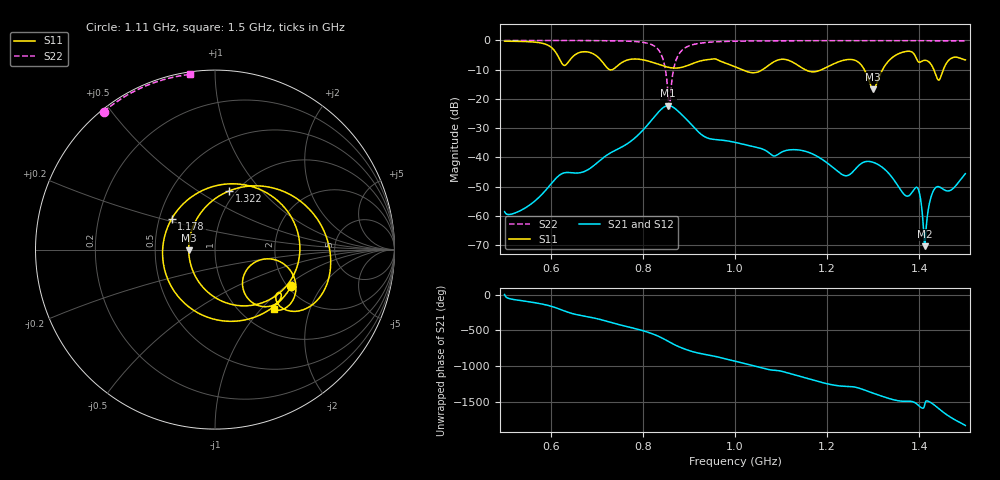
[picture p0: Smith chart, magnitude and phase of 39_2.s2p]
! TOUCHSTONE file generated by CST MICROWAVE STUDIO
! Date and time: Thu Feb 18 07:37:51 2021
! Project name: Scenario_1_Planar_Body_Tissue_Out_of_Line.cst
! Parameters = {L_HA=400; Ltissue=1000; MT=2.54; Rad_Dielectric=30; Rad_Lower=7.3; Rad_Upper=30; Wtissue=1000; a_HA=580; a_WG=246; b_HA=500; b_WG=121; c_HA=0; c_WG=187; d_feed=85; dx1=346; dy1=311.4; h_feed=15; h_lower=18; h_upper=40; hfat=3; hgap=25; hmuscle=50; hskin=1.5}
! Header version: 2018
! Port assignment regex: !\s*Touchstone port\s*([0-9]+)\s*=\s*(CST MWS port|CST DS port)\s*([0-9]+|Zmin|Zmax)\s*\(\"(.*)\"\)(\s*mode\s*([0-9]+))?.*
! Touchstone port assignment:
! Touchstone port 1 = CST MWS port 1 ("")
! Touchstone port 2 = CST MWS port 2 ("")
# GHz S DB R 50
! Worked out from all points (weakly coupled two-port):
!   1003 points, 500 MHz to 1.5 GHz, reference 50 ohm
!   highest |S21| = -22.28 dB at 855 MHz (marker M1); lowest = -70.4 dB at 1.412 GHz (marker M2)
!   lowest |S11| = -16.7 dB at 1.3 GHz (marker M3), VSWR 1.34, Z = 37.2 - j0.321 ohm
!   |S11| at or under -10 dB: 1.015 GHz to 1.06 GHz (44.93 MHz wide, 4.33 % of centre); 1.152 GHz to 1.188 GHz (35.97 MHz wide, 3.07 % of centre); 1.281 GHz to 1.32 GHz (39.47 MHz wide, 3.03 % of centre) (the widest 3 of 5)
!   |S22| runs from -23.8 to 0.0 dB; largest |S21 - S12| = 1.8e-05
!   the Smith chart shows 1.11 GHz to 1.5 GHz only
!   S11 on the Smith chart (normalised r, x): 1.11 GHz: 2.09, -1.10; 1.178 GHz: 0.58, +0.22; 1.322 GHz: 0.93, +0.68; 1.5 GHz: 1.39, -1.18
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0.5  -0.26 -121.7  -58.61 0.1  -58.61 0.1  -0.01 151.1
0.667  -3.95 158.5  -45.15 66.2  -45.15 66.2  -0.04 138.4
0.718  -8.55 26.7  -39.67 -5.8  -39.67 -5.8  -0.09 132.6
0.742  -9.09 -95.6  -37.45 -48.7  -37.45 -48.7  -0.14 128.9
0.771  -6.52 176.6  -34.83 -95.4  -34.83 -95.4  -0.27 122.9
0.834  -8.17 39.9  -24.51 137.3  -24.51 137.3  -3.24 82.9
0.855  -9.18 -13.8  -22.28 66.8  -22.28 66.8  -19.05 13.0
0.908  -7.93 -177.7  -29.23 -76.4  -29.23 -76.4  -1.46 163.3
0.939  -6.60 84.0  -33.29 -119.7  -33.29 -119.7  -0.68 151.8
1  -9.01 -62.7  -34.86 149.2  -34.86 149.2  -0.27 140.2
1.075  -8.28 78.6  -38.60 31.3  -38.60 31.3  -0.14 132.1
1.11  -6.53 -25.6  -37.68 -5.6  -37.68 -5.6  -0.11 128.9
1.167  -10.73 175.0  -38.74 -110.0  -38.74 -110.0  -0.10 124.2
1.178  -10.57 144.4  -39.61 -129.4  -39.61 -129.4  -0.10 123.4
1.249  -6.50 2.8  -45.88 157.7  -45.88 157.7  -0.09 117.9
1.3  -16.67 -178.4  -41.70 63.4  -41.70 63.4  -0.08 114.1
1.322  -9.49 76.6  -43.70 14.7  -43.70 14.7  -0.08 112.5
1.334  -6.92 51.2  -45.53 -9.8  -45.53 -9.8  -0.09 111.5
1.396  -6.92 -40.3  -50.40 -94.1  -50.40 -94.1  -0.09 106.7
1.412  -6.80 -38.3  -70.38 -86.2  -70.38 -86.2  -0.10 105.5
1.433  -10.57 -55.9  -50.78 -104.0  -50.78 -104.0  -0.10 103.7
1.5  -6.65 -45.5  -45.57 -26.4  -45.57 -26.4  -0.13 98.0
